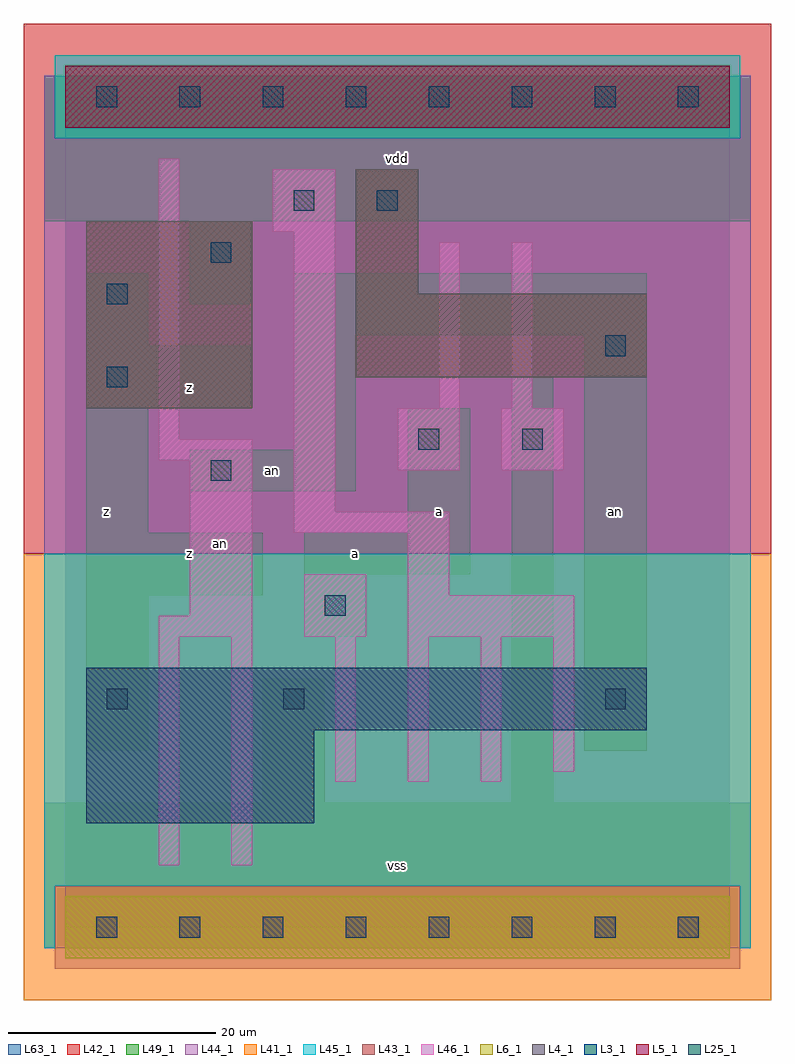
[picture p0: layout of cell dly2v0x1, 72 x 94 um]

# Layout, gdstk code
import gdstk
lib = gdstk.Library(unit=1e-6, precision=1e-09)
def R(c, l, rs):  # rectangles x0, y0, x1, y1
    for r in rs: c.add(gdstk.rectangle(r[:2], r[2:], *l))
def A(c, l, x, y, w, h, nx, ny, dx, dy):  # array of equal rectangles
    R(c, l, [(x+i*dx, y+j*dy, x+i*dx+w, y+j*dy+h) for i in range(nx) for j in range(ny)])
L3_1 = (3, 1)
L4_1 = (4, 1)
L5_1 = (5, 1)
L6_1 = (6, 1)
L25_1 = (25, 1)
L41_1 = (41, 1)
L42_1 = (42, 1)
L43_1 = (43, 1)
L44_1 = (44, 1)
L45_1 = (45, 1)
L46_1 = (46, 1)
L49_1 = (49, 1)
L63_1 = (63, 1)

dly2v0x1 = lib.new_cell('dly2v0x1')
R(dly2v0x1, L3_1, [(2,10,24,19), (2,19,56,25)])
R(dly2v0x1, L4_1, [(2,50,18,68), (28,53,56,61), (28,61,34,73)])
R(dly2v0x1, L5_1, [(0,77,64,83)])
R(dly2v0x1, L6_1, [(0,-3,64,3), (0,-3,64,3)])
A(dly2v0x1, L25_1, 3, -1, 2, 2, 8, 2, 8, 80)
R(dly2v0x1, L25_1, [(4,21,6,23), (21,21,23,23), (52,21,54,23), (25,30,27,32), (14,43,16,45), (34,46,36,48), (44,46,46,48), (4,52,6,54), (52,55,54,57), (4,60,6,62), (14,64,16,66), (22,69,24,71), (30,69,32,71)])
R(dly2v0x1, L41_1, [(-4,-7,68,36)])
R(dly2v0x1, L42_1, [(-4,36,68,87)])
R(dly2v0x1, L43_1, [(0,-3,64,3), (2,10,24,19), (2,19,56,25), (2,50,18,68), (28,53,56,61), (28,61,34,73), (0,77,64,83)])
R(dly2v0x1, L44_1, [(-1,-4,65,4), (-2,36,66,76), (-2,76,-1,82), (65,76,66,82)])
R(dly2v0x1, L45_1, [(-2,-2,-1,4), (65,-2,66,4), (-2,4,66,36), (-1,76,65,84)])
A(dly2v0x1, L46_1, 26, 14, 2, 14, 3, 1, 7, 0)
R(dly2v0x1, L46_1, [(9,6,11,28), (16,6,18,28), (47,15,49,28), (9,28,18,30), (23,28,29,34), (33,28,49,32), (12,30,18,45), (33,32,37,38), (22,38,37,40), (22,40,26,67), (32,44,38,50), (42,44,48,50), (9,45,18,47), (9,47,11,74), (36,50,38,66), (43,50,45,66), (20,67,26,73)])
R(dly2v0x1, L49_1, [(-2,-2,66,12), (19,12,25,24), (43,12,47,53), (2,17,8,32), (50,17,56,57), (23,28,29,34), (2,32,19,38), (23,34,39,38), (2,38,8,50), (33,38,39,50), (12,42,28,46), (22,46,28,57), (2,50,18,56), (2,56,8,63), (22,57,56,63), (12,60,18,68), (-2,68,66,82)])
R(dly2v0x1, L63_1, [(0,0,64,80)])
dly2v0x1.add(gdstk.Label('an', (15,37), layer=46, texttype=1))
dly2v0x1.add(gdstk.Label('z', (12,36), layer=49, texttype=1))
dly2v0x1.add(gdstk.Label('z', (4,40), layer=49, texttype=1))
dly2v0x1.add(gdstk.Label('z', (12,52), layer=49, texttype=1))
dly2v0x1.add(gdstk.Label('a', (28,36), layer=49, texttype=1))
dly2v0x1.add(gdstk.Label('an', (20,44), layer=49, texttype=1))
dly2v0x1.add(gdstk.Label('vss', (32,6), layer=49, texttype=1))
dly2v0x1.add(gdstk.Label('a', (36,40), layer=49, texttype=1))
dly2v0x1.add(gdstk.Label('vdd', (32,74), layer=49, texttype=1))
dly2v0x1.add(gdstk.Label('an', (53,40), layer=49, texttype=1))

lib.write_gds('dly2v0x1.gds')
